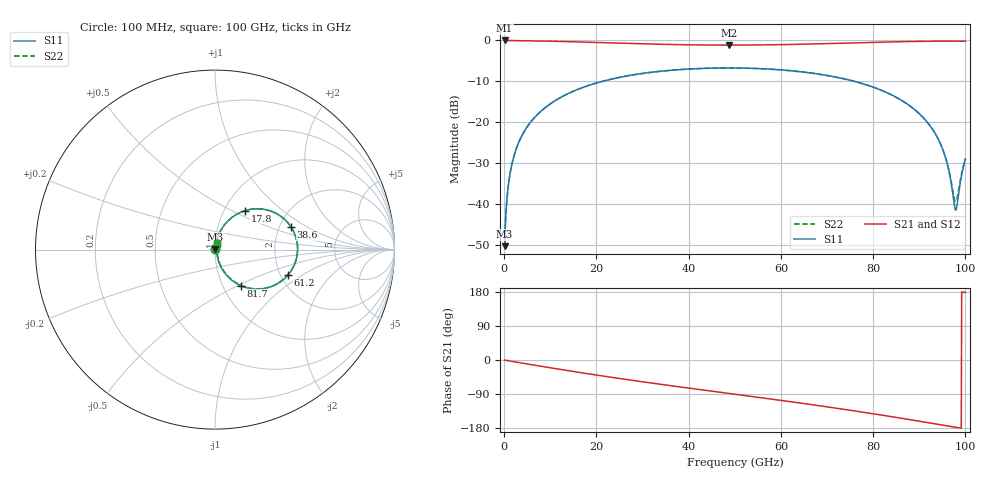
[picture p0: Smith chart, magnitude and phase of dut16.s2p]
! Touchstone file exported from HFSS 2026.1.0
!  File:  C:/ffzhzh/LocalFiles/Ansys_Project_Files/temp_train_RDL_16_1783497750_44152.aedt
!  Generated:  04:03:55 PM Jul  8, 2026
!  Design:  RDL
!  Project:  temp_train_RDL_16_1783497750_44152
! Variables:
!  h_bsmrdl = 2um
!  h_ox = 20um
!  h_rdl = 5um
!  h_sub = 80um
!  h_tmrdl = 4.74um
!  h_tsv = 80um
!  h_via = 3um
!  l_bsmrdl = 300um
!  l_sub = 1020.62um
!  l_tmrdl = 620.62um
!  m_sub = 200um
!  pitch = 42.12um
!  r_tsv = 6um
!  s_tmrdl = 10um
!  w_bsmrdl = 18um
!  w_sub = 500um
!  w_tmrdl = 22.25um
!  x_tsv_center1 = 631.745um
!  x_tsv_center2 = 949.745um
!  x_tsv_center3 = 1592.615um
!  x_tsv_center4 = 1910.615um
!  x_tsv_center5 = 2553.485um
!  x_tsv_center6 = 2871.485um
# GHz S MA R 50.000000
! Terminal data exported
! Port[1] = TM_RDL1_1_T1
! Port[2] = TM_RDL1_1_T2
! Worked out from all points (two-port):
!   1000 points, 100 MHz to 100 GHz, reference 50 ohm
!   highest |S21| = -0.02 dB at 100 MHz (marker M1); lowest = -1.2 dB at 48.7 GHz (marker M2)
!   |S21| within 3 dB of the highest: start of sweep to end of sweep
!   lowest |S11| = -50.3 dB at 100 MHz (marker M3), VSWR 1.01, Z = 50.2 + j0.205 ohm
!   |S11| at or under -10 dB: start of sweep to 21.33 GHz; 75.9 GHz to end of sweep
!   |S22| runs from -50.3 to -6.7 dB; largest |S21 - S12| = 1.7e-14
!   S11 on the Smith chart (normalised r, x): 100 MHz: 1.00, +0.00; 17.8 GHz: 1.25, +0.59; 38.6 GHz: 2.30, +0.73; 61.2 GHz: 2.19, -0.76; 81.7 GHz: 1.21, -0.52; 100 GHz: 1.02, +0.07
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0.1  0.003059 41.9  0.9977 -0.2  0.9977 -0.2  0.003059 41.9
! Gamma 0 0 0 0
! Port Impedance 50 0 50 0
0.9  0.0168 78.0  0.9969 -1.9  0.9969 -1.9  0.0168 78.0
1.5  0.0275 80.1  0.9964 -3.2  0.9964 -3.2  0.02749 80.1
4  0.07116 77.6  0.9925 -8.4  0.9925 -8.4  0.07115 77.6
9  0.1523 68.4  0.9803 -18.5  0.9803 -18.5  0.1523 68.4
16.8  0.2628 54.0  0.9544 -33.7  0.9544 -33.7  0.2627 54.0
17.8  0.2753 52.2  0.9507 -35.6  0.9507 -35.6  0.2753 52.2
33.4  0.4167 25.2  0.8969 -63.3  0.8969 -63.3  0.4166 25.3
38.6  0.4416 16.8  0.885 -71.9  0.885 -71.9  0.4415 16.9
48.7  0.4603 0.7  0.8754 -88.2  0.8754 -88.2  0.4602 0.9
50.1  0.4599 -1.5  0.8755 -90.4  0.8755 -90.4  0.4597 -1.3
61.2  0.4306 -19.2  0.8894 -108.5  0.8894 -108.5  0.4304 -18.9
66.7  0.3982 -28.3  0.9035 -117.8  0.9035 -117.8  0.398 -28.0
81.7  0.2468 -54.5  0.9522 -145.1  0.9522 -145.1  0.2466 -53.9
83.4  0.2241 -57.5  0.9573 -148.4  0.9573 -148.4  0.2238 -56.9
89.3  0.1381 -67.7  0.9716 -160.1  0.9716 -160.1  0.1379 -66.7
93.4  0.07358 -72.9  0.9774 -168.4  0.9774 -168.4  0.0735 -71.0
95.8  0.03522 -70.4  0.979 -173.3  0.979 -173.3  0.03547 -66.6
97.8  0.008563 -8.9  0.9791 -177.3  0.9791 -177.3  0.01078 -4.6
98.2  0.00976 31.3  0.979 -178.2  0.979 -178.2  0.01196 27.4
99.3  0.02434 68.4  0.9785 179.6  0.9785 179.6  0.02558 64.0
100  0.03521 73.4  0.9781 178.2  0.9781 178.2  0.0362 70.2
